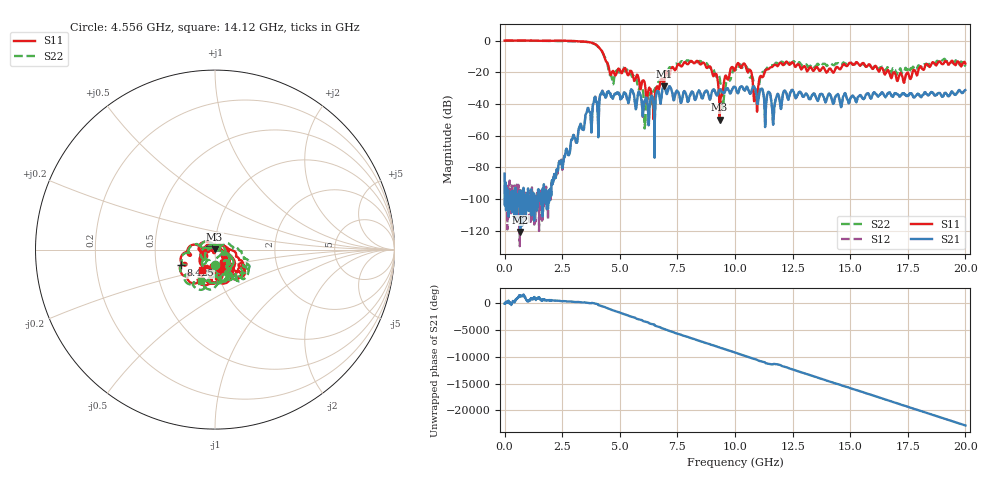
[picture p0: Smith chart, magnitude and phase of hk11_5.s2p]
#  HZ  S  RI  R  50.00
! Rohde & Schwarz Vector Network Analyzer
! Rohde-Schwarz,ZNB20-2Port,1311601062102128,3.60
! Created: UTC 4/29/2024, 3:47:11 PM
! freq[Hz]  re:S11  im:S11  re:S21  im:S21  re:S12  im:S12  re:S22  im:S22
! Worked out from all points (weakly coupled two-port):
!   2007 points, 100 kHz to 20 GHz, reference 50 ohm
!   highest |S21| = -28.71 dB at 6.919 GHz (marker M1); lowest = -120.7 dB at 678.1 MHz (marker M2)
!   lowest |S11| = -49.8 dB at 9.332 GHz (marker M3), VSWR 1.01, Z = 49.8 + j0.239 ohm
!   |S11| at or under -10 dB: 4.326 GHz to end of sweep
!   |S22| runs from -55.4 to 0.1 dB; largest |S21 - S12| = 0.002
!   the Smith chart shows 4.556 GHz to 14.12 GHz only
!   S11 on the Smith chart (normalised r, x): 4.556 GHz: 1.04, -0.21; 8.425 GHz: 0.67, -0.12; 14.12 GHz: 0.85, -0.19
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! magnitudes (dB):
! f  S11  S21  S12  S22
! 100 kHz  0.0  -83.9  -83.4  0.1
! 678.1 MHz  0.1  -120.7  -94.4  0.0
! 2.243 GHz  0.0  -82.9  -85.0  -0.3
! 3.34 GHz  -0.6  -55.2  -54.9  -0.6
! 4.118 GHz  -4.7  -37.1  -37.3  -4.6
! 4.556 GHz  -19.5  -32.9  -32.9  -21.2
! 5.633 GHz  -25.4  -36.1  -36.1  -21.3
! 6.122 GHz  -31.3  -36.4  -36.4  -46.5
! 6.67 GHz  -30.1  -32.0  -31.9  -26.2
! 6.919 GHz  -26.6  -28.7  -28.8  -20.1
! 8.425 GHz  -13.6  -31.5  -31.5  -13.0
! 9.163 GHz  -20.9  -33.2  -33.2  -22.3
! 9.332 GHz  -49.8  -31.0  -30.9  -23.2
! 9.502 GHz  -28.1  -33.0  -33.1  -38.4
! 10 GHz  -18.6  -29.3  -29.3  -17.7
! 10.66 GHz  -18.6  -33.2  -33.2  -23.4
! 10.9 GHz  -33.9  -31.6  -31.7  -34.1
! 11.67 GHz  -15.9  -51.3  -51.3  -15.4
! 13.34 GHz  -17.9  -34.4  -34.4  -14.9
! 14.12 GHz  -17.6  -33.9  -34.0  -14.3
! 16.67 GHz  -19.1  -32.9  -33.0  -18.9
! 20 GHz  -14.5  -31.2  -31.3  -15.2
